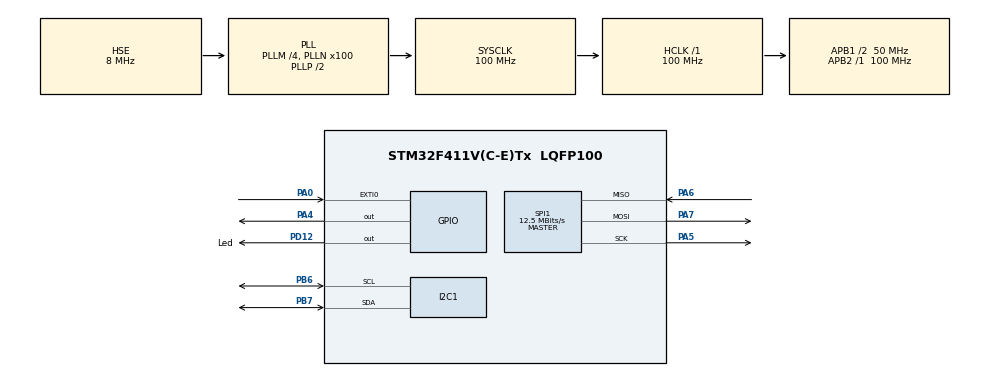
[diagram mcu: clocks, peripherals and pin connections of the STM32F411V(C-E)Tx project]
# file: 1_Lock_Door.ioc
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Dma.Request0=SPI1_RX
Dma.SPI1_RX.0.Direction=DMA_PERIPH_TO_MEMORY
Dma.SPI1_RX.0.FIFOMode=DMA_FIFOMODE_DISABLE
Dma.SPI1_RX.0.Instance=DMA2_Stream0
Dma.SPI1_RX.0.MemDataAlignment=DMA_MDATAALIGN_BYTE
Dma.SPI1_RX.0.MemInc=DMA_MINC_ENABLE
Dma.SPI1_RX.0.Mode=DMA_CIRCULAR
Dma.SPI1_RX.0.PeriphDataAlignment=DMA_PDATAALIGN_BYTE
Dma.SPI1_RX.0.PeriphInc=DMA_PINC_DISABLE
Dma.SPI1_RX.0.Priority=DMA_PRIORITY_LOW
Mcu.Family=STM32F4
Mcu.Name=STM32F411V(C-E)Tx
Mcu.Package=LQFP100
NVIC.DMA2_Stream0_IRQn=true\:0\:0\:false\:false\:true\:false\:true\:true
NVIC.EXTI0_IRQn=true\:0\:0\:false\:false\:true\:true\:true\:true
NVIC.PriorityGroup=NVIC_PRIORITYGROUP_4
PA0-WKUP.Signal=GPXTI0
PA13.Mode=Serial_Wire
PA13.Signal=SYS_JTMS-SWDIO
PA14.Mode=Serial_Wire
PA14.Signal=SYS_JTCK-SWCLK
PA4.PinState=GPIO_PIN_SET
PA4.Signal=GPIO_Output
PA5.Mode=Full_Duplex_Master
PA5.Signal=SPI1_SCK
PA6.Mode=Full_Duplex_Master
PA6.Signal=SPI1_MISO
PA7.Mode=Full_Duplex_Master
PA7.Signal=SPI1_MOSI
PB6.Mode=I2C
PB6.Signal=I2C1_SCL
PB7.Mode=I2C
PB7.Signal=I2C1_SDA
PD12.GPIO_Label=Led
PD12.Signal=GPIO_Output
PH0\ -\ OSC_IN.Mode=HSE-External-Oscillator
PH0\ -\ OSC_IN.Signal=RCC_OSC_IN
PH1\ -\ OSC_OUT.Mode=HSE-External-Oscillator
PH1\ -\ OSC_OUT.Signal=RCC_OSC_OUT
ProjectManager.HeapSize=0x200
ProjectManager.StackSize=0x400
ProjectManager.TargetToolchain=MDK-ARM V5.32
RCC.48MHZClocksFreq_Value=50000000
RCC.AHBFreq_Value=100000000
RCC.APB1CLKDivider=RCC_HCLK_DIV2
RCC.APB1Freq_Value=50000000
RCC.APB1TimFreq_Value=100000000
RCC.APB2Freq_Value=100000000
RCC.APB2TimFreq_Value=100000000
RCC.CortexFreq_Value=100000000
RCC.HCLKFreq_Value=100000000
RCC.HSE_VALUE=8000000
RCC.HSI_VALUE=16000000
RCC.LSE_VALUE=32768
RCC.PLLM=4
RCC.PLLN=100
RCC.PLLSourceVirtual=RCC_PLLSOURCE_HSE
RCC.SYSCLKFreq_VALUE=100000000
RCC.SYSCLKSource=RCC_SYSCLKSOURCE_PLLCLK
RCC.VCOOutputFreq_Value=200000000
SPI1.BaudRatePrescaler=SPI_BAUDRATEPRESCALER_8
SPI1.CalculateBaudRate=12.5 MBits/s
SPI1.Direction=SPI_DIRECTION_2LINES
SPI1.Mode=SPI_MODE_MASTER
SPI1.VirtualType=VM_MASTER
board=custom

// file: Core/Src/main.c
/* USER CODE BEGIN Header */
/**
  ******************************************************************************
  * @file           : main.c
  * @brief          : Main program body
  ******************************************************************************
  * @attention
  *
  * Copyright (c) 2022 STMicroelectronics.
  * All rights reserved.
  *
  * This software is licensed under terms that can be found in the LICENSE file
  * in the root directory of this software component.
  * If no LICENSE file comes with this software, it is provided AS-IS.
  *
  ******************************************************************************
  */
/* USER CODE END Header */
#include "main.h"

/* USER CODE BEGIN Includes */
#include "rc522.h"
#include "FLASH_SECTOR_F4.h"
#include <string.h>
#include "i2c-lcd.h"
/* USER CODE END Includes */

/* USER CODE BEGIN PD */
#define   ID_card_true    	1 ;
#define   ID_card_false    	0 ;

#define   Lcd_open_door  	1;
#define   Lcd_card_false  	2;
/* USER CODE END PD */

I2C_HandleTypeDef hi2c1;
SPI_HandleTypeDef hspi1;
DMA_HandleTypeDef hdma_spi1_rx;

/* USER CODE BEGIN PV */
uint8_t ExTi_1;
uint8_t *pExTi_1;

uint8_t u8_SPI1_RxBuff[20];
uint8_t	str[MFRC522_MAX_LEN]; // MFRC522_MAX_LEN = 16
uint8_t control_Door; //open = 1, close = 0 ;

uint8_t Rx_Data[48];
uint8_t Data[48];
uint8_t remaining_updates;
uint8_t state = 0; //display lcd

/* USER CODE END PV */

void SystemClock_Config(void);
static void MX_GPIO_Init(void);
static void MX_DMA_Init(void);
static void MX_SPI1_Init(void);
static void MX_I2C1_Init(void);
/* USER CODE BEGIN PFP */

//uid card comparison
uint8_t uid_compare(uint8_t uid_card_flash[], uint8_t str[], uint8_t compare)
	{
		uint8_t flag = ID_card_true;

			if(compare == 0)
			{
				for(int i = 1; i < 5; i++) //Ignore byte start of str therefor begin i = 1
					{
					if(str[i] != uid_card_flash[i]) {flag = ID_card_false ;break;}
					}
			}
			if(compare == 1)
			{
				for(int i = 1; i < 5; i++)
					{
					if(str[i] != uid_card_flash[i + 16]) {flag = ID_card_false ;break;} ; // card 2 begin at index 17
					}
			}
			if(compare == 2)
			{
				for(int i = 1; i < 5; i++)
					{
					if(str[i] != uid_card_flash[i + 32]) {flag = ID_card_false ;break;} ; // card 3 begin at index 33
					}
			}
			return flag;
	}

	//count_element_duplicate
uint8_t count_element_duplicate(uint8_t* array, uint8_t size, uint8_t x)
{
    uint8_t count = 0;
    for(uint8_t i=0; i<size; i++){
      if(array[i]==x)
        count ++;
    }
    return count;
}

	void HAL_GPIO_EXTI_Callback(uint16_t GPIO_Pin)
{
  /* Prevent unused argument(s) compilation warning */
  UNUSED(GPIO_Pin);
	if(GPIO_Pin == GPIO_PIN_0)
	{
			ExTi_1 = 1 ;
	}
  /* NOTE: This function Should not be modified, when the callback is needed,
           the HAL_GPIO_EXTI_Callback could be implemented in the user file
   */
}

void Handle_EXTI1()
{
		// ----------begin write data into flash, max 3---------------

		Flash_Read_Data(0x08061000 , Rx_Data, 48);

		// coppy Rx_Data into Data
		memcpy((void *)Data, (void *)Rx_Data, sizeof(Rx_Data));

	if(remaining_updates == 0)
		{
			memcpy(&Data[0], (void *)str, sizeof(str)); //card 1
			Data[16] = 0; //card 2
			Data[32] = 0 ; //card 3
		}
	else
		{
		if(Data[0] == 0)
		{
			memcpy(&Data[0], (void *)str, sizeof(str));
		}
		else
		{
			if(Data[16] == 0)
			{
			memcpy(&Data[16], (void *)str, sizeof(str));
			}
			else
			{
				if(Data[32] == 0){memcpy(&Data[32], (void *)str, sizeof(str));}
			}
		}
		}
		Flash_Write_Data(0x08061000 , (uint8_t *)Data, 48);

		//count the number of updates remaining
		Flash_Read_Data(0x08061000 , Rx_Data, 48);
		 switch (count_element_duplicate(Rx_Data, 48, 0))
		{
			case 35: //35 number 0 of Rx_Data <=> remaining 2 slot can be update
				{
					remaining_updates = 2;
					break;
				}
			case 34:
				{
					remaining_updates = 1;
					break;
				}
			default: remaining_updates = 0; //33 number 0 when add full 3 slot

		}
		// ----------end write data into flash, max 3---------------
		HAL_GPIO_TogglePin(GPIOD, GPIO_PIN_12);
		ExTi_1 = 0;
}

void Display_Lcd(uint8_t state)
{
		switch(state)
		{
			case 0: //start
			{
				lcd_put_cur(0,0);
				lcd_send_string("This is Project");
				HAL_Delay(10);
				lcd_put_cur(1,4); //row 1, index 4
				lcd_send_string("Lock Door");
				break;
			}
			case 1: //open door
			{
				lcd_put_cur(0,2);
				lcd_send_string("Well Come To");
				HAL_Delay(10);
				lcd_put_cur(1,4); //row 1, index 4
				lcd_send_string("My House");
				break;
			}
			case 2: //card false
			{
				lcd_put_cur(0,0);
				lcd_send_string("Can't Open Door ");
				HAL_Delay(10);
				lcd_put_cur(1,0); //row 1, index 4
				lcd_send_string("Press UpdateCard");
				lcd_put_cur(1,14);
				//lcd_send_data(remaining_updates + 48);
				break;
			}
		}
}

/* USER CODE END PFP */

int main(void)
{

  /* MCU Configuration--------------------------------------------------------*/

  /* Reset of all peripherals, Initializes the Flash interface and the Systick. */
  HAL_Init();

  /* Configure the system clock */
  SystemClock_Config();

  /* Initialize all configured peripherals */
  MX_GPIO_Init();
  MX_DMA_Init();
  MX_SPI1_Init();
  MX_I2C1_Init();
  /* USER CODE BEGIN 2 */
  MFRC522_Init();
  HAL_GPIO_WritePin(GPIOA, GPIO_PIN_4, 0);
  lcd_init();

  /* USER CODE END 2 */

  /* Infinite loop */
  /* USER CODE BEGIN WHILE */
  while (1)
  {
		// Display Lcd
		Display_Lcd(state);

		//RFID
		if (!MFRC522_Request(PICC_REQIDL, str)) {

			if (!MFRC522_Anticoll(str)) {

		// ----------begin READ data form flash, then compare with data---------------
						Flash_Read_Data(0x08061000 , Rx_Data, 48); //each card include 16 number 16x3 = 48

						uint8_t compare = 0;
						while(compare < 3)
						{
							if(uid_compare(Rx_Data, str, compare))
							{
								control_Door = 1;
								lcd_clear();
								HAL_Delay(400);
								state = Lcd_open_door;
								break;
							}
							else
							{
								compare++;
							}

							lcd_clear();
							HAL_Delay(100);
							state = Lcd_card_false;
						}

		// ----------end READ data form flash, then compare with data---------------

		}
		}
		//EXTI1
		if(ExTi_1 == 1)
		{
			HAL_Delay(20); // Ignore the noise time of button
			if(HAL_GPIO_ReadPin(GPIOA, GPIO_PIN_0) == 1)
			{
					Handle_EXTI1();
				while(HAL_GPIO_ReadPin(GPIOA, GPIO_PIN_0) == 1); // wait for button release
			}
		}

  }
  /* USER CODE END 3 */
}

void SystemClock_Config(void)
{
  RCC_OscInitTypeDef RCC_OscInitStruct = {0};
  RCC_ClkInitTypeDef RCC_ClkInitStruct = {0};

  /** Configure the main internal regulator output voltage
  */
  __HAL_RCC_PWR_CLK_ENABLE();
  __HAL_PWR_VOLTAGESCALING_CONFIG(PWR_REGULATOR_VOLTAGE_SCALE1);

  /** Initializes the RCC Oscillators according to the specified parameters
  * in the RCC_OscInitTypeDef structure.
  */
  RCC_OscInitStruct.OscillatorType = RCC_OSCILLATORTYPE_HSE;
  RCC_OscInitStruct.HSEState = RCC_HSE_ON;
  RCC_OscInitStruct.PLL.PLLState = RCC_PLL_ON;
  RCC_OscInitStruct.PLL.PLLSource = RCC_PLLSOURCE_HSE;
  RCC_OscInitStruct.PLL.PLLM = 4;
  RCC_OscInitStruct.PLL.PLLN = 100;
  RCC_OscInitStruct.PLL.PLLP = RCC_PLLP_DIV2;
  RCC_OscInitStruct.PLL.PLLQ = 4;
  if (HAL_RCC_OscConfig(&RCC_OscInitStruct) != HAL_OK)
  {
    Error_Handler();
  }

  /** Initializes the CPU, AHB and APB buses clocks
  */
  RCC_ClkInitStruct.ClockType = RCC_CLOCKTYPE_HCLK|RCC_CLOCKTYPE_SYSCLK
                              |RCC_CLOCKTYPE_PCLK1|RCC_CLOCKTYPE_PCLK2;
  RCC_ClkInitStruct.SYSCLKSource = RCC_SYSCLKSOURCE_PLLCLK;
  RCC_ClkInitStruct.AHBCLKDivider = RCC_SYSCLK_DIV1;
  RCC_ClkInitStruct.APB1CLKDivider = RCC_HCLK_DIV2;
  RCC_ClkInitStruct.APB2CLKDivider = RCC_HCLK_DIV1;

  if (HAL_RCC_ClockConfig(&RCC_ClkInitStruct, FLASH_LATENCY_3) != HAL_OK)
  {
    Error_Handler();
  }
}

static void MX_I2C1_Init(void)
{

  hi2c1.Instance = I2C1;
  hi2c1.Init.ClockSpeed = 100000;
  hi2c1.Init.DutyCycle = I2C_DUTYCYCLE_2;
  hi2c1.Init.OwnAddress1 = 0;
  hi2c1.Init.AddressingMode = I2C_ADDRESSINGMODE_7BIT;
  hi2c1.Init.DualAddressMode = I2C_DUALADDRESS_DISABLE;
  hi2c1.Init.OwnAddress2 = 0;
  hi2c1.Init.GeneralCallMode = I2C_GENERALCALL_DISABLE;
  hi2c1.Init.NoStretchMode = I2C_NOSTRETCH_DISABLE;
  if (HAL_I2C_Init(&hi2c1) != HAL_OK)
  {
    Error_Handler();
  }

}

static void MX_SPI1_Init(void)
{

  /* SPI1 parameter configuration*/
  hspi1.Instance = SPI1;
  hspi1.Init.Mode = SPI_MODE_MASTER;
  hspi1.Init.Direction = SPI_DIRECTION_2LINES;
  hspi1.Init.DataSize = SPI_DATASIZE_8BIT;
  hspi1.Init.CLKPolarity = SPI_POLARITY_LOW;
  hspi1.Init.CLKPhase = SPI_PHASE_1EDGE;
  hspi1.Init.NSS = SPI_NSS_SOFT;
  hspi1.Init.BaudRatePrescaler = SPI_BAUDRATEPRESCALER_8;
  hspi1.Init.FirstBit = SPI_FIRSTBIT_MSB;
  hspi1.Init.TIMode = SPI_TIMODE_DISABLE;
  hspi1.Init.CRCCalculation = SPI_CRCCALCULATION_DISABLE;
  hspi1.Init.CRCPolynomial = 10;
  if (HAL_SPI_Init(&hspi1) != HAL_OK)
  {
    Error_Handler();
  }

}

static void MX_DMA_Init(void)
{

  /* DMA controller clock enable */
  __HAL_RCC_DMA2_CLK_ENABLE();

  /* DMA interrupt init */
  /* DMA2_Stream0_IRQn interrupt configuration */
  HAL_NVIC_SetPriority(DMA2_Stream0_IRQn, 0, 0);
  HAL_NVIC_EnableIRQ(DMA2_Stream0_IRQn);

}

static void MX_GPIO_Init(void)
{
  GPIO_InitTypeDef GPIO_InitStruct = {0};

  /* GPIO Ports Clock Enable */
  __HAL_RCC_GPIOH_CLK_ENABLE();
  __HAL_RCC_GPIOA_CLK_ENABLE();
  __HAL_RCC_GPIOD_CLK_ENABLE();
  __HAL_RCC_GPIOB_CLK_ENABLE();

  /*Configure GPIO pin Output Level */
  HAL_GPIO_WritePin(GPIOA, GPIO_PIN_4, GPIO_PIN_SET);

  /*Configure GPIO pin Output Level */
  HAL_GPIO_WritePin(Led_GPIO_Port, Led_Pin, GPIO_PIN_RESET);

  /*Configure GPIO pin : PA0 */
  GPIO_InitStruct.Pin = GPIO_PIN_0;
  GPIO_InitStruct.Mode = GPIO_MODE_IT_RISING;
  GPIO_InitStruct.Pull = GPIO_NOPULL;
  HAL_GPIO_Init(GPIOA, &GPIO_InitStruct);

  /*Configure GPIO pin : PA4 */
  GPIO_InitStruct.Pin = GPIO_PIN_4;
  GPIO_InitStruct.Mode = GPIO_MODE_OUTPUT_PP;
  GPIO_InitStruct.Pull = GPIO_NOPULL;
  GPIO_InitStruct.Speed = GPIO_SPEED_FREQ_LOW;
  HAL_GPIO_Init(GPIOA, &GPIO_InitStruct);

  /*Configure GPIO pin : Led_Pin */
  GPIO_InitStruct.Pin = Led_Pin;
  GPIO_InitStruct.Mode = GPIO_MODE_OUTPUT_PP;
  GPIO_InitStruct.Pull = GPIO_NOPULL;
  GPIO_InitStruct.Speed = GPIO_SPEED_FREQ_LOW;
  HAL_GPIO_Init(Led_GPIO_Port, &GPIO_InitStruct);

  /* EXTI interrupt init*/
  HAL_NVIC_SetPriority(EXTI0_IRQn, 0, 0);
  HAL_NVIC_EnableIRQ(EXTI0_IRQn);

}

void Error_Handler(void)
{
  __disable_irq();
  while (1)
  {
  }
}
